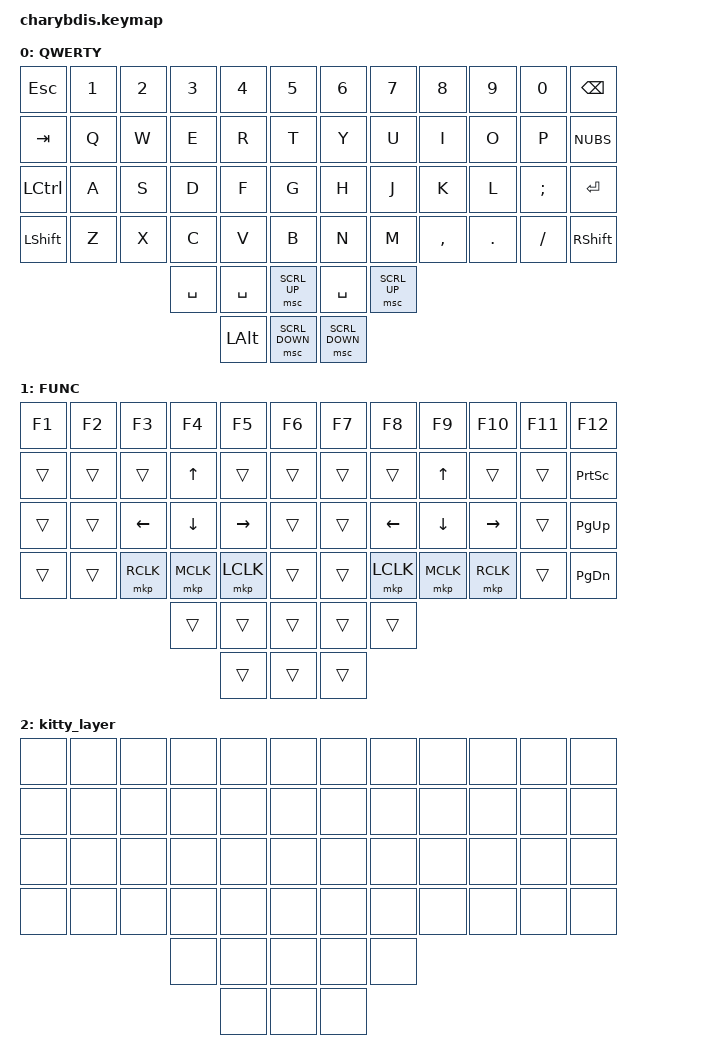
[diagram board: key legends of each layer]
#include "keys_de_swiss.h"
#include <dt-bindings/zmk/mouse.h>
#include <behaviors/mouse_keys.dtsi>

#define ZMK_POINTING_DEFAULT_SCRL_VAL 15    // default: 10

#include <behaviors.dtsi>
#include <dt-bindings/zmk/keys.h>
#include <dt-bindings/zmk/pointing.h>

&msc {
    delay-ms = <0>;
    time-to-max-speed-ms = <0>;
};

/ {
    /* input config for mouse move mode */

    trackball_listener {
        compatible = "zmk,input-behavior-listener";
        device = <&vtrackball>;
        layers = <0 3 6>;
        evt-type = <INPUT_EV_REL>;
        x-input-code = <INPUT_REL_X>;
        y-input-code = <INPUT_REL_Y>;
        scale-multiplier = <1>;
        scale-divisor = <2>;

        // bindings = <&ib_toggle_layer 7>;
    };

    /* input config for snipe mode */

    trackball_snipe_listener {
        compatible = "zmk,input-behavior-listener";
        device = <&vtrackball>;
        layers = <10>;
        evt-type = <INPUT_EV_REL>;
        x-input-code = <INPUT_REL_X>;
        y-input-code = <INPUT_REL_Y>;
        scale-multiplier = <1>;
        scale-divisor = <4>;
    };

    /* input config for mouse scroll mode */

    trackball_scroll_listener {
        compatible = "zmk,input-behavior-listener";
        device = <&vtrackball>;
        layers = <9>;
        evt-type = <INPUT_EV_REL>;
        x-input-code = <INPUT_REL_MISC>;
        y-input-code = <INPUT_REL_WHEEL>;
        y-invert;
        bindings = <&ib_wheel_scaler 1 14>;
    };

    /* define a resolution down scaler only for INPUT_REL_WHEEL */

    ib_wheel_scaler: ib_wheel_scaler {
        compatible = "zmk,input-behavior-scaler";
        #binding-cells = <2>;
        evt-type = <INPUT_EV_REL>;
        input-code = <INPUT_REL_WHEEL>;
    };

    /* adjust cooldown waiting period for mouse key layer after activated */

    ib_toggle_layer: ib_toggle_layer {
        compatible = "zmk,input-behavior-tog-layer";
        #binding-cells = <1>;
        time-to-live-ms = <750>;
    };

    combos {
        compatible = "zmk,combos";

        rh_leftClick {
            bindings = <&mkp LCLK>;
            key-positions = <43 44>;
        };

        rh_rightClick {
            bindings = <&mkp RCLK>;
            key-positions = <44 45>;
        };

        rh_middleClick {
            bindings = <&mkp MCLK>;
            key-positions = <44 45 43>;
        };

        lh_leftClick {
            bindings = <&mkp LCLK>;
            key-positions = <40 39>;
        };

        lh_rightClick {
            bindings = <&mkp RCLK>;
            key-positions = <38 39>;
        };

        lh_middleClick {
            bindings = <&mkp MCLK>;
            key-positions = <38 39 40>;
        };

        CAPSX {
            bindings = <&kp CAPSLOCK>;
            key-positions = <24 36>;
        };

        APOSX {
            bindings = <&kp APOS>;
            key-positions = <31 35>;
        };

        ENTERY {
            bindings = <&kp ENTER>;
            key-positions = <35 47>;
        };

        kitty_layer {
            bindings = <&tog 2>;
            key-positions = <0 11 47 36>;
        };

        DELETEY {
            bindings = <&kp DELETE>;
            key-positions = <11 23>;
        };

        LBKTX {
            bindings = <&kp LBKT>;
            key-positions = <31 22>;
        };

        RBKTX {
            bindings = <&kp RBKT>;
            key-positions = <32 23>;
        };

        MINUSX {
            bindings = <&kp MINUS>;
            key-positions = <31 10>;
        };

        PLUSX {
            bindings = <&kp EQUAL>;
            key-positions = <31 11>;
        };

        DELETEX {
            bindings = <&kp DELETE>;
            key-positions = <11 10>;
        };

        ToLayer1L {
            bindings = <&mo 1>;
            key-positions = <50 54>;
        };

        ToLayer1R {
            bindings = <&mo 1>;
            key-positions = <51 55>;
        };

        WinLX {
            bindings = <&kp LEFT_WIN>;
            key-positions = <48 49>;
        };

        GraveX {
            bindings = <&kp GRAVE>;
            key-positions = <0 1>;
        };

        GraveY {
            bindings = <&kp GRAVE>;
            key-positions = <0 12>;
        };

        rh_leftClickY {
            bindings = <&mkp LCLK>;
            key-positions = <31 43>;
        };

        rh_rightClickY {
            bindings = <&mkp RCLK>;
            key-positions = <33 45>;
        };

        rh_middleClickY {
            bindings = <&mkp MCLK>;
            key-positions = <32 44>;
        };

        ForwardR {
            bindings = <&mkp MB5>;
            key-positions = <52 55>;
        };

        BackR {
            bindings = <&mkp MB4>;
            key-positions = <52 51>;
        };

        SpaceR {
            bindings = <&kp SPACE>;
            key-positions = <31 32 33>;
        };

        SpaceL {
            bindings = <&kp SPACE>;
            key-positions = <26 27 28>;
        };
    };

    behaviors {
        hmr: hmr {
            compatible = "zmk,behavior-hold-tap";
            label = "HMR";
            bindings = <&kp>, <&kp>;

            #binding-cells = <2>;
            tapping-term-ms = <190>;
            quick-tap-ms = <175>;
            flavor = "balanced";
            hold-trigger-key-positions = <0 1 2 3 4 5 12 13 14 15 16 17 24 25 26 27 28 29 36 37 38 39 40 41 48 49 50 53 54 51 52 55>;
            hold-trigger-on-release;
        };

        hml: hml {
            compatible = "zmk,behavior-hold-tap";
            label = "HML";
            bindings = <&kp>, <&kp>;

            #binding-cells = <2>;
            tapping-term-ms = <190>;
            quick-tap-ms = <175>;
            flavor = "balanced";
            hold-trigger-key-positions = <48 49 50 53 54 51 52 55 6 7 8 9 10 11 18 19 20 21 22 23 30 31 32 33 34 35 42 43 44 45 46 47 51 52>;
            hold-trigger-on-release;
        };
    };

    keymap {
        compatible = "zmk,keymap";

        qwerty_layer {
            bindings = <
&kp ESCAPE      &kp N1  &kp N2  &kp N3     &kp N4        &kp N5            &kp N6          &kp N7        &kp N8     &kp N9   &kp N0     &kp BACKSPACE
&kp TAB         &kp Q   &kp W   &kp E      &kp R         &kp T             &kp Y           &kp U         &kp I      &kp O    &kp P      &kp NUBS
&kp LCTRL       &kp A   &kp S   &kp D      &kp F         &kp G             &kp H           &kp J         &kp K      &kp L    &kp SEMI   &kp ENTER
&kp LEFT_SHIFT  &kp Z   &kp X   &kp C      &kp V         &kp B             &kp N           &kp M         &kp COMMA  &kp DOT  &kp SLASH  &kp RIGHT_SHIFT
                                &kp SPACE  &kp SPACE     &msc SCRL_UP      &kp SPACE       &msc SCRL_UP
                                           &kp LEFT_ALT  &msc SCRL_DOWN    &msc SCRL_DOWN
            >;

            label = "QWERTY";
        };

        func_layer {
            label = "FUNC";
            bindings = <
&kp F1  &kp F2  &kp F3     &kp F4     &kp F5     &kp F6    &kp F7  &kp F8     &kp F9     &kp F10    &kp F11  &kp F12
&trans  &trans  &trans     &kp UP     &trans     &trans    &trans  &trans     &kp UP     &trans     &trans   &kp PRINTSCREEN
&trans  &trans  &kp LEFT   &kp DOWN   &kp RIGHT  &trans    &trans  &kp LEFT   &kp DOWN   &kp RIGHT  &trans   &kp PAGE_UP
&trans  &trans  &mkp RCLK  &mkp MCLK  &mkp LCLK  &trans    &trans  &mkp LCLK  &mkp MCLK  &mkp RCLK  &trans   &kp PAGE_DOWN
                           &trans     &trans     &trans    &trans  &trans
                                      &trans     &trans    &trans
            >;
        };

        kitty_layer {
            bindings = <
&none  &none  &none  &none  &none  &none    &none  &none  &none  &none  &none  &none
&none  &none  &none  &none  &none  &none    &none  &none  &none  &none  &none  &none
&none  &none  &none  &none  &none  &none    &none  &none  &none  &none  &none  &none
&none  &none  &none  &none  &none  &none    &none  &none  &none  &none  &none  &none
                     &none  &none  &none    &none  &none
                            &none  &none    &none
            >;
        };
    };
};
